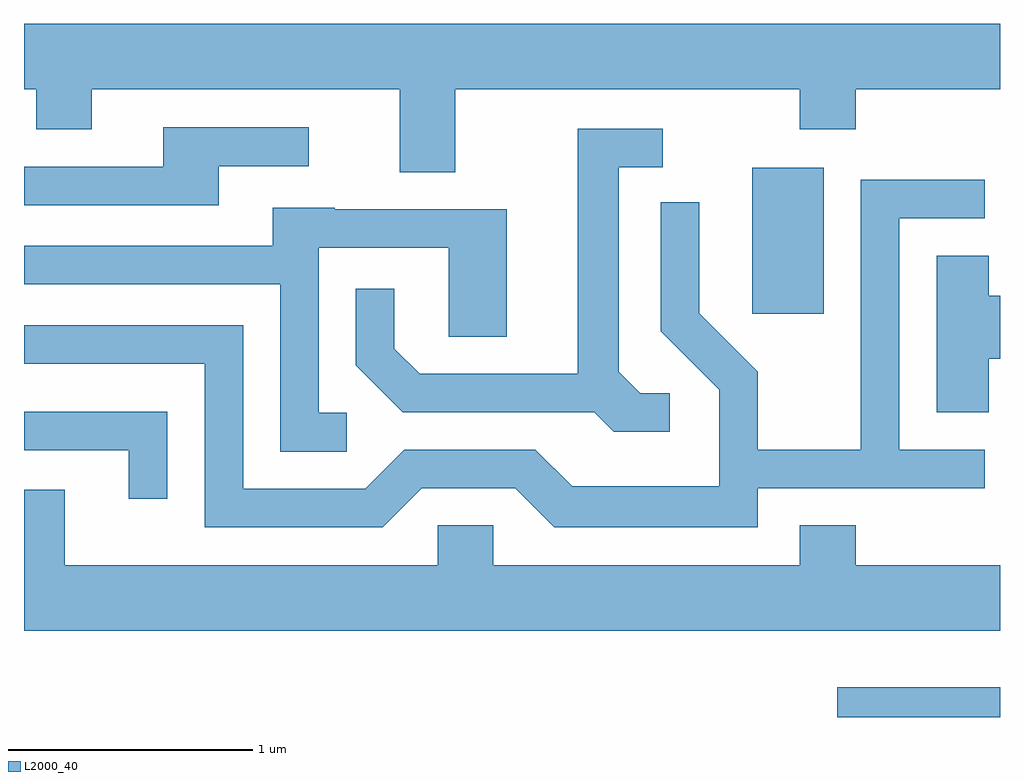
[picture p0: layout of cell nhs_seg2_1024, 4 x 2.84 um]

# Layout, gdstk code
import gdstk
lib = gdstk.Library(unit=1e-6, precision=1e-09)
def R(c, l, rs):  # rectangles x0, y0, x1, y1
    for r in rs: c.add(gdstk.rectangle(r[:2], r[2:], *l))
def P(c, l, *ps):  # polygons
    for p in ps: c.add(gdstk.Polygon(p, *l))
L2000_40 = (2000, 40)

nhs_seg2_1024 = lib.new_cell('nhs_seg2_1024')
R(nhs_seg2_1024, L2000_40, [(218.943,985.802,219.611,985.924), (218.596,987.456,218.889,988.054)])
P(nhs_seg2_1024, L2000_40, [(217.379,988.376),(218.791,988.376),(218.791,988.211),(219.019,988.211),(219.019,988.376),(219.611,988.376),(219.611,988.644),(215.611,988.644),(215.611,988.376),(215.661,988.376),(215.661,988.211),(215.889,988.211),(215.889,988.376),(217.151,988.376),(217.151,988.036),(217.379,988.036)],
  [(216.409,988.061),(216.778,988.061),(216.778,988.219),(216.181,988.219),(216.181,988.059),(215.611,988.059),(215.611,987.901),(216.409,987.901)],
  [(218.258,987.129),(218.137,987.129),(218.049,987.217),(218.049,988.056),(218.228,988.056),(218.228,988.214),(217.881,988.214),(217.881,987.209),(217.232,987.209),(217.129,987.312),(217.129,987.558),(216.971,987.558),(216.971,987.244),(217.164,987.051),(217.949,987.051),(218.029,986.971),(218.258,986.971)],
  [(217.242,986.741),(217.624,986.741),(217.784,986.581),(218.619,986.581),(218.619,986.741),(219.548,986.741),(219.548,986.899),(219.199,986.899),(219.199,987.846),(219.548,987.846),(219.548,988.004),(219.041,988.004),(219.041,986.899),(218.619,986.899),(218.619,987.217),(218.379,987.457),(218.379,987.913),(218.221,987.913),(218.221,987.384),(218.461,987.144),(218.461,986.749),(217.857,986.749),(217.707,986.899),(217.169,986.899),(217.009,986.739),(216.509,986.739),(216.509,987.409),(215.611,987.409),(215.611,987.251),(216.351,987.251),(216.351,986.581),(217.082,986.581)],
  [(216.933,987.049),(216.819,987.049),(216.819,987.726),(217.351,987.726),(217.351,987.361),(217.589,987.361),(217.589,987.884),(216.885,987.884),(216.885,987.889),(216.631,987.889),(216.631,987.734),(215.611,987.734),(215.611,987.576),(216.661,987.576),(216.661,986.891),(216.933,986.891)],
  [(219.564,987.271),(219.611,987.271),(219.611,987.529),(219.564,987.529),(219.564,987.694),(219.351,987.694),(219.351,987.051),(219.564,987.051)],
  [(216.199,987.054),(215.611,987.054),(215.611,986.896),(216.041,986.896),(216.041,986.698),(216.199,986.698)],
  [(219.611,986.424),(219.019,986.424),(219.019,986.589),(218.791,986.589),(218.791,986.424),(217.534,986.424),(217.534,986.589),(217.306,986.589),(217.306,986.424),(215.779,986.424),(215.779,986.734),(215.611,986.734),(215.611,986.156),(219.611,986.156)])

lib.write_gds('nhs_seg2_1024.gds')
